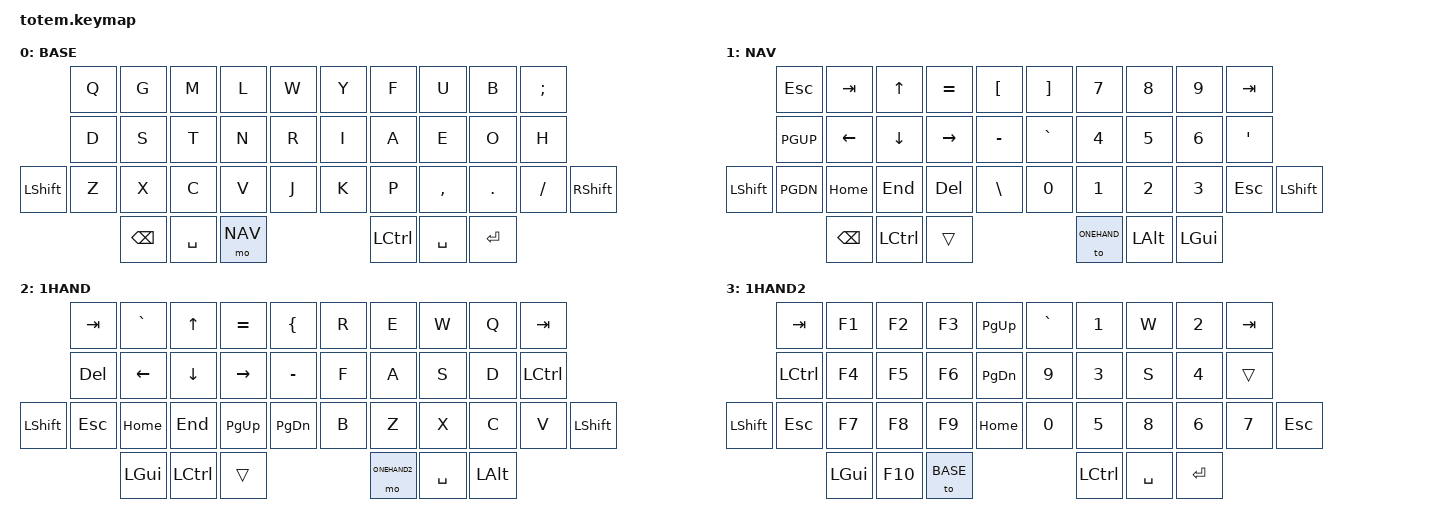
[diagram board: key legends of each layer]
//
//                                                        ▀▀▀▀▀     ▀▀▀▀▀          ▀▀█▀▀
//                                                        ▄▀▀▀▄  ▄  ▄▀▀▀▄  ▄  ▄▀▀▀▄  █  ▄▀▀▀▄
//                                                        █   █  █  █   █  █  █   █  █  █   █
//                                                         ▀▀▀   █   ▀▀▀   █   ▀▀▀   ▀   ▀▀▀
//                                                               █      ▄▄▄█▄▄▄    █   █  
//                                                               ▀      █  █  █     █▄█
//                                                             ▀▀▀▀▀    █  █  █      ▀
//                                                                      ▀  ▀  ▀
//
// ▄▄▄▄▄▄▄▄▄▄▄▄▄▄▄▄▄▄▄▄▄▄▄▄▄▄▄▄▄▄▄▄▄▄▄▄▄▄▄▄▄▄▄▄▄▄▄▄▄▄▄▄▄▄▄▄▄▄▄▄▄▄▄▄▄▄▄▄▄▄▄▄▄▄▄▄▄▄▄▄▄▄▄▄▄▄▄▄▄▄▄▄▄▄▄▄▄▄▄▄▄▄▄▄▄▄▄▄▄▄▄▄▄▄▄▄▄▄▄▄▄▄▄▄▄▄▄▄▄▄▄▄▄▄▄▄▄▄▄▄▄▄▄▄▄▄▄▄▄

#include <behaviors.dtsi>
#include <dt-bindings/zmk/bt.h>
#include <dt-bindings/zmk/keys.h>
#include <dt-bindings/zmk/outputs.h>

#define BASE 0
#define NAV  1
#define ONEHAND 2
#define ONEHAND2 3

/ {
    combos {
        compatible = "zmk,combos";

        combo_esc {
            timeout-ms = <50>;
            key-positions = <0 1>;
            bindings = <&kp ESC>;
        };

        combo_layer_toggle {
            timeout-ms = <50>;
            key-positions = <34 35>;
            bindings = <&tog ONEHAND>;
        };
    };

    keymap {
        compatible = "zmk,keymap";

        // ▄▄▄▄▄▄▄▄▄▄▄▄▄▄▄▄▄▄▄▄▄▄▄▄▄▄▄▄▄▄▄▄▄▄▄▄▄▄▄▄▄▄▄▄▄▄▄▄▄▄▄▄▄▄▄▄▄▄▄▄▄▄▄▄▄▄▄▄▄▄▄▄▄▄▄▄▄▄▄▄▄▄▄▄▄▄▄▄▄▄▄▄▄▄▄▄▄▄▄▄▄▄▄▄▄▄▄▄▄▄▄▄▄▄▄▄▄▄▄▄▄▄▄▄▄▄▄▄▄▄▄▄▄▄▄▄▄▄▄▄▄▄▄▄▄▄▄▄▄

        base_layer {
            // ┏━━━━━━━━━━━━━━━━━━━━━━━━━━━━━━━━━━━━━━━┓

            label = "BASE";

            // ┗━━━━━━━━━━━━━━━━━━━━━━━━━━━━━━━━━━━━━━━┛
            //             ┏━━━━━━━━━━━┳━━━━━━━━━━━┳━━━━━━━━━━━┳━━━━━━━━━━━┳━━━━━━━━━━━┓   ┏━━━━━━━━━━━┳━━━━━━━━━━━┳━━━━━━━━━━━┳━━━━━━━━━━━┳━━━━━━━━━━━┓
            //             ┃     Q     ┃     G     ┃     M     ┃     L     ┃     W     ┃   ┃     Y     ┃     F     ┃     U     ┃     B     ┃     ;     ┃
            //             ┣━━━━━━━━━━━╋━━━━━━━━━━━╋━━━━━━━━━━━╋━━━━━━━━━━━╋━━━━━━━━━━━┫   ┣━━━━━━━━━━━╋━━━━━━━━━━━╋━━━━━━━━━━━╋━━━━━━━━━━━╋━━━━━━━━━━━┫
            //             ┃     D     ┃     S     ┃     T     ┃     N     ┃     R     ┃   ┃     I     ┃     A     ┃     E     ┃     O     ┃     H     ┃
            // ┏━━━━━━━━━━━╋━━━━━━━━━━━╋━━━━━━━━━━━╋━━━━━━━━━━━╋━━━━━━━━━━━╋━━━━━━━━━━━┫   ┣━━━━━━━━━━━╋━━━━━━━━━━━╋━━━━━━━━━━━╋━━━━━━━━━━━╋━━━━━━━━━━━╋━━━━━━━━━━━┓
            // ┃   SHIFT   ┃     Z     ┃     X     ┃     C     ┃     V     ┃     J     ┃   ┃     K     ┃     P     ┃     ,     ┃     .     ┃     /     ┃   SHIFT   ┃
            // ┗━━━━━━━━━━━┻━━━━━━━━━━━┻━━━━━━━━━━━╋━━━━━━━━━━━╋━━━━━━━━━━━╋━━━━━━━━━━━┫   ┣━━━━━━━━━━━╋━━━━━━━━━━━╋━━━━━━━━━━━╋━━━━━━━━━━━┻━━━━━━━━━━━┻━━━━━━━━━━━┛
            //                                     ┃   BSPC    ┃   SPACE   ┃  MO(NAV)  ┃   ┃   CTRL    ┃   SPACE   ┃   ENTER   ┃
            //                                     ┗━━━━━━━━━━━┻━━━━━━━━━━━┻━━━━━━━━━━━┛   ┗━━━━━━━━━━━┻━━━━━━━━━━━┻━━━━━━━━━━━┛

            bindings = <
               &kp Q  &kp G  &kp M  &kp L  &kp W        &kp Y  &kp F  &kp U      &kp B    &kp SEMI
               &kp D  &kp S  &kp T  &kp N  &kp R        &kp I  &kp A  &kp E      &kp O    &kp H
&kp LSHIFT     &kp Z  &kp X  &kp C  &kp V  &kp J        &kp K  &kp P  &kp COMMA  &kp DOT  &kp SLASH  &kp RSHIFT
                       &kp BSPC  &kp SPACE  &mo NAV     &kp LCTRL  &kp SPACE  &kp ENTER
            >;
        };

        // ▄▄▄▄▄▄▄▄▄▄▄▄▄▄▄▄▄▄▄▄▄▄▄▄▄▄▄▄▄▄▄▄▄▄▄▄▄▄▄▄▄▄▄▄▄▄▄▄▄▄▄▄▄▄▄▄▄▄▄▄▄▄▄▄▄▄▄▄▄▄▄▄▄▄▄▄▄▄▄▄▄▄▄▄▄▄▄▄▄▄▄▄▄▄▄▄▄▄▄▄▄▄▄▄▄▄▄▄▄▄▄▄▄▄▄▄▄▄▄▄▄▄▄▄▄▄▄▄▄▄▄▄▄▄▄▄▄▄▄▄▄▄▄▄▄▄▄▄▄

        nav_layer {
            // ┏━━━━━━━━━━━━━━━━━━━━━━━━━━━━━━━━━━━━━━━┓

            label = "NAV";

            // ┗━━━━━━━━━━━━━━━━━━━━━━━━━━━━━━━━━━━━━━━┛
            //             ┏━━━━━━━━━━━┳━━━━━━━━━━━┳━━━━━━━━━━━┳━━━━━━━━━━━┳━━━━━━━━━━━┓   ┏━━━━━━━━━━━┳━━━━━━━━━━━┳━━━━━━━━━━━┳━━━━━━━━━━━┳━━━━━━━━━━━┓
            //             ┃    ESC    ┃    TAB    ┃     UP    ┃     =     ┃     [     ┃   ┃     ]     ┃     7     ┃     8     ┃     9     ┃    TAB    ┃
            //             ┣━━━━━━━━━━━╋━━━━━━━━━━━╋━━━━━━━━━━━╋━━━━━━━━━━━╋━━━━━━━━━━━┫   ┣━━━━━━━━━━━╋━━━━━━━━━━━╋━━━━━━━━━━━╋━━━━━━━━━━━╋━━━━━━━━━━━┫
            //             ┃    DEL    ┃   LEFT    ┃    DOWN   ┃   RIGHT   ┃     -     ┃   ┃     `     ┃     4     ┃     5     ┃     6     ┃     '     ┃
            // ┏━━━━━━━━━━━╋━━━━━━━━━━━╋━━━━━━━━━━━╋━━━━━━━━━━━╋━━━━━━━━━━━╋━━━━━━━━━━━┫   ┣━━━━━━━━━━━╋━━━━━━━━━━━╋━━━━━━━━━━━╋━━━━━━━━━━━╋━━━━━━━━━━━╋━━━━━━━━━━━┓
            // ┃  LSHIFT   ┃    PGDN   ┃   HOME    ┃    END    ┃   DEL     ┃     \     ┃   ┃     0     ┃     1     ┃     2     ┃     3     ┃    ESC    ┃   LSHIFT  ┃
            // ┗━━━━━━━━━━━┻━━━━━━━━━━━┻━━━━━━━━━━━╋━━━━━━━━━━━╋━━━━━━━━━━━╋━━━━━━━━━━━┫   ┣━━━━━━━━━━━╋━━━━━━━━━━━╋━━━━━━━━━━━╋━━━━━━━━━━━┻━━━━━━━━━━━┻━━━━━━━━━━━┛
            //                                     ┃   BSPC    ┃   CTRL    ┃           ┃   ┃ TO 1HAND  ┃    ALT    ┃    WIN    ┃
            //                                     ┗━━━━━━━━━━━┻━━━━━━━━━━━┻━━━━━━━━━━━┛   ┗━━━━━━━━━━━┻━━━━━━━━━━━┻━━━━━━━━━━━┛

            bindings = <
            &kp ESC  &kp TAB    &kp UP    &kp EQUAL  &kp LBKT    &kp RBKT  &kp N7  &kp N8  &kp N9  &kp TAB
            &kp PGUP  &kp LEFT   &kp DOWN  &kp RIGHT  &kp MINUS   &kp GRAVE &kp N4  &kp N5  &kp N6  &kp APOS
&kp LSHIFT  &kp PGDN  &kp HOME   &kp END   &kp DEL  &kp BSLH    &kp N0    &kp N1  &kp N2  &kp N3  &kp ESC    &kp LSHIFT
                                &kp BSPC  &kp LCTRL  &trans      &to ONEHAND  &kp LALT  &kp LGUI
            >;
        };

        // ▄▄▄▄▄▄▄▄▄▄▄▄▄▄▄▄▄▄▄▄▄▄▄▄▄▄▄▄▄▄▄▄▄▄▄▄▄▄▄▄▄▄▄▄▄▄▄▄▄▄▄▄▄▄▄▄▄▄▄▄▄▄▄▄▄▄▄▄▄▄▄▄▄▄▄▄▄▄▄▄▄▄▄▄▄▄▄▄▄▄▄▄▄▄▄▄▄▄▄▄▄▄▄▄▄▄▄▄▄▄▄▄▄▄▄▄▄▄▄▄▄▄▄▄▄▄▄▄▄▄▄▄▄▄▄▄▄▄▄▄▄▄▄▄▄▄▄▄▄

        one_hand_layer {
            // ┏━━━━━━━━━━━━━━━━━━━━━━━━━━━━━━━━━━━━━━━┓

            label = "1HAND";

            // ┗━━━━━━━━━━━━━━━━━━━━━━━━━━━━━━━━━━━━━━━┛
            //             ┏━━━━━━━━━━━┳━━━━━━━━━━━┳━━━━━━━━━━━┳━━━━━━━━━━━┳━━━━━━━━━━━┓   ┏━━━━━━━━━━━┳━━━━━━━━━━━┳━━━━━━━━━━━┳━━━━━━━━━━━┳━━━━━━━━━━━┓
            //             ┃     `     ┃     9     ┃     8     ┃     7     ┃     -     ┃   ┃     R     ┃     E     ┃     W     ┃     Q     ┃    TAB    ┃
            //             ┣━━━━━━━━━━━╋━━━━━━━━━━━╋━━━━━━━━━━━╋━━━━━━━━━━━╋━━━━━━━━━━━┫   ┣━━━━━━━━━━━╋━━━━━━━━━━━╋━━━━━━━━━━━╋━━━━━━━━━━━╋━━━━━━━━━━━┫
            //             ┃    TAB    ┃     6     ┃     5     ┃     4     ┃     =     ┃   ┃     F     ┃     A     ┃     S     ┃     D     ┃   LCTRL   ┃
            // ┏━━━━━━━━━━━╋━━━━━━━━━━━╋━━━━━━━━━━━╋━━━━━━━━━━━╋━━━━━━━━━━━╋━━━━━━━━━━━┫   ┣━━━━━━━━━━━╋━━━━━━━━━━━╋━━━━━━━━━━━╋━━━━━━━━━━━╋━━━━━━━━━━━╋━━━━━━━━━━━┓
            // ┃   SHIFT   ┃     0     ┃     3     ┃     2     ┃     1     ┃           ┃   ┃     B     ┃     Z     ┃     X     ┃     C     ┃     V     ┃   LSHIFT  ┃
            // ┗━━━━━━━━━━━┻━━━━━━━━━━━┻━━━━━━━━━━━╋━━━━━━━━━━━╋━━━━━━━━━━━╋━━━━━━━━━━━┫   ┣━━━━━━━━━━━╋━━━━━━━━━━━╋━━━━━━━━━━━╋━━━━━━━━━━━┻━━━━━━━━━━━┻━━━━━━━━━━━┛
            //                                     ┃    WIN    ┃   SPACE   ┃    ESC    ┃   ┃ MO(1HAND2)┃   SPACE   ┃   ENTER   ┃
            //                                     ┗━━━━━━━━━━━┻━━━━━━━━━━━┻━━━━━━━━━━━┛   ┗━━━━━━━━━━━┻━━━━━━━━━━━┻━━━━━━━━━━━┛

            bindings = <
            &kp TAB    &kp GRAVE  &kp UP    &kp EQUAL  &kp LBRC    &kp R  &kp E  &kp W  &kp Q  &kp TAB
            &kp DEL    &kp LEFT   &kp DOWN  &kp RIGHT  &kp MINUS   &kp F  &kp A  &kp S  &kp D  &kp LCTRL
&kp LSHIFT  &kp ESC    &kp HOME   &kp END   &kp PG_UP  &kp PG_DN   &kp B  &kp Z  &kp X  &kp C  &kp V  &kp LSHIFT
                                  &kp LGUI  &kp LCTRL  &trans      &mo ONEHAND2  &kp SPACE  &kp LALT
            >;
        };

        // ▄▄▄▄▄▄▄▄▄▄▄▄▄▄▄▄▄▄▄▄▄▄▄▄▄▄▄▄▄▄▄▄▄▄▄▄▄▄▄▄▄▄▄▄▄▄▄▄▄▄▄▄▄▄▄▄▄▄▄▄▄▄▄▄▄▄▄▄▄▄▄▄▄▄▄▄▄▄▄▄▄▄▄▄▄▄▄▄▄▄▄▄▄▄▄▄▄▄▄▄▄▄▄▄▄▄▄▄▄▄▄▄▄▄▄▄▄▄▄▄▄▄▄▄▄▄▄▄▄▄▄▄▄▄▄▄▄▄▄▄▄▄▄▄▄▄▄▄▄

        one_hand2_layer {
            // ┏━━━━━━━━━━━━━━━━━━━━━━━━━━━━━━━━━━━━━━━┓

            label = "1HAND2";

            // ┗━━━━━━━━━━━━━━━━━━━━━━━━━━━━━━━━━━━━━━━┛
            //             ┏━━━━━━━━━━━┳━━━━━━━━━━━┳━━━━━━━━━━━┳━━━━━━━━━━━┳━━━━━━━━━━━┓   ┏━━━━━━━━━━━┳━━━━━━━━━━━┳━━━━━━━━━━━┳━━━━━━━━━━━┳━━━━━━━━━━━┓
            //             ┃    TAB    ┃    F1     ┃    F2     ┃    F3     ┃   PGUP    ┃   ┃     `     ┃     1     ┃     W     ┃     2     ┃    TAB    ┃
            //             ┣━━━━━━━━━━━╋━━━━━━━━━━━╋━━━━━━━━━━━╋━━━━━━━━━━━╋━━━━━━━━━━━┫   ┣━━━━━━━━━━━╋━━━━━━━━━━━╋━━━━━━━━━━━╋━━━━━━━━━━━╋━━━━━━━━━━━┫
            //             ┃   CTRL    ┃    F4     ┃    F5     ┃    F6     ┃   PGDN    ┃   ┃     9     ┃     3     ┃     S     ┃     4     ┃           ┃
            // ┏━━━━━━━━━━━╋━━━━━━━━━━━╋━━━━━━━━━━━╋━━━━━━━━━━━╋━━━━━━━━━━━╋━━━━━━━━━━━┫   ┣━━━━━━━━━━━╋━━━━━━━━━━━╋━━━━━━━━━━━╋━━━━━━━━━━━╋━━━━━━━━━━━╋━━━━━━━━━━━┓
            // ┃   SHIFT   ┃    ESC    ┃    F7     ┃    F8     ┃    F9     ┃   HOME    ┃   ┃     0     ┃     5     ┃     8     ┃     6     ┃     7     ┃    ESC    ┃
            // ┗━━━━━━━━━━━┻━━━━━━━━━━━┻━━━━━━━━━━━╋━━━━━━━━━━━╋━━━━━━━━━━━╋━━━━━━━━━━━┫   ┣━━━━━━━━━━━╋━━━━━━━━━━━╋━━━━━━━━━━━╋━━━━━━━━━━━┻━━━━━━━━━━━┻━━━━━━━━━━━┛
            //                                     ┃    WIN    ┃    F10    ┃  TO BASE  ┃   ┃   CTRL    ┃   SPACE   ┃   ENTER   ┃
            //                                     ┗━━━━━━━━━━━┻━━━━━━━━━━━┻━━━━━━━━━━━┛   ┗━━━━━━━━━━━┻━━━━━━━━━━━┻━━━━━━━━━━━┛

            bindings = <
            &kp TAB    &kp F1   &kp F2  &kp F3  &kp PG_UP     &kp GRAVE  &kp N1  &kp W   &kp N2  &kp TAB
            &kp LCTRL  &kp F4   &kp F5  &kp F6  &kp PG_DN     &kp N9     &kp N3  &kp S   &kp N4  &trans
&kp LSHIFT  &kp ESC    &kp F7   &kp F8  &kp F9  &kp HOME      &kp N0     &kp N5  &kp N8  &kp N6  &kp N7  &kp ESC
                              &kp LGUI  &kp F10  &to BASE   &kp LCTRL  &kp SPACE  &kp ENTER
            >;
        };
    };
};
